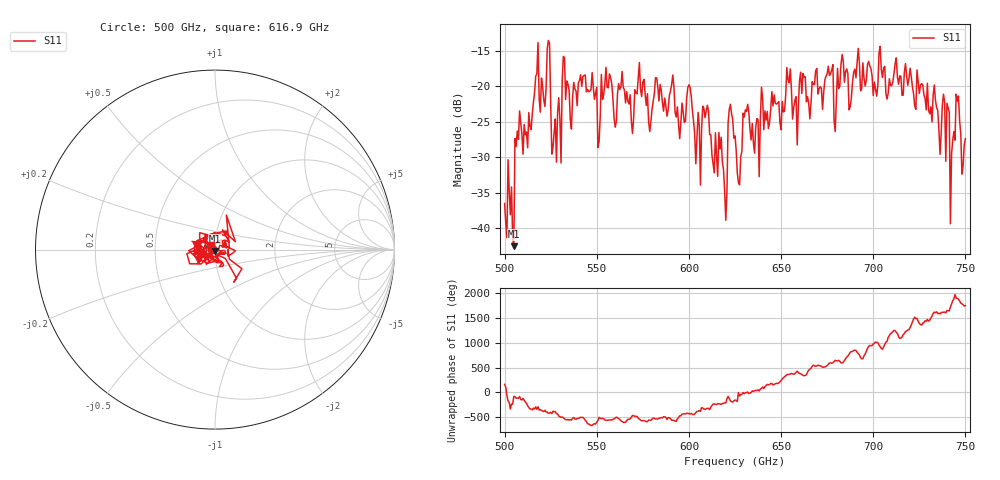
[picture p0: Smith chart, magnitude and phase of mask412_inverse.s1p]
!Created with skrf (http://scikit-rf.org).
# GHz S MA R 50.0
!freq magS11 angS11
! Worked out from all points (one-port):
!   401 points, 500 GHz to 750 GHz, reference 50 ohm
!   lowest |S11| = -42.5 dB at 505 GHz (marker M1), VSWR 1.02, Z = 50.2 - j0.735 ohm
!   |S11| at or under -10 dB: start of sweep to end of sweep
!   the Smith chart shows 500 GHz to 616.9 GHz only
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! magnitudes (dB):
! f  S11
! 500 GHz  -36.5
! 505 GHz  -42.5
! 506.9 GHz  -26.3
! 513.1 GHz  -23.7
! 516.9 GHz  -18.6
! 523.8 GHz  -13.6
! 526.9 GHz  -26.5
! 531.2 GHz  -19.1
! 542.5 GHz  -18.6
! 550.6 GHz  -28.6
! 562.5 GHz  -20.5
! 579.4 GHz  -25.0
! 590.6 GHz  -19.8
! 593.8 GHz  -22.9
! 600 GHz  -19.8
! 605 GHz  -23.7
! 609.4 GHz  -23.6
! 619.4 GHz  -34.7
! 622.5 GHz  -22.6
! 625 GHz  -27.0
! 627.5 GHz  -33.9
! 630.6 GHz  -23.3
! 636.9 GHz  -24.6
! 656.2 GHz  -24.6
! 687.5 GHz  -22.9
! 718.8 GHz  -19.9
! 743.1 GHz  -27.6
! 750 GHz  -27.4
